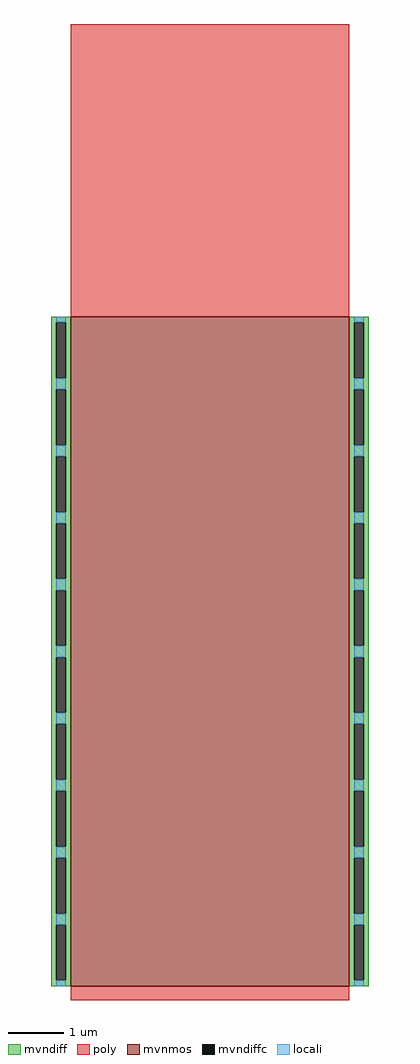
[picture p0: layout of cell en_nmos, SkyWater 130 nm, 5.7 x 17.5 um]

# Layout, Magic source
magic
tech sky130A
<< mvnmos >>
rect 0 25 500 1225
<< mvndiff >>
rect -35 1215 0 1225
rect -35 1115 -26 1215
rect -9 1115 0 1215
rect -35 1095 0 1115
rect -35 995 -26 1095
rect -9 995 0 1095
rect -35 975 0 995
rect -35 875 -26 975
rect -9 875 0 975
rect -35 855 0 875
rect -35 755 -26 855
rect -9 755 0 855
rect -35 735 0 755
rect -35 635 -26 735
rect -9 635 0 735
rect -35 615 0 635
rect -35 515 -26 615
rect -9 515 0 615
rect -35 495 0 515
rect -35 395 -26 495
rect -9 395 0 495
rect -35 375 0 395
rect -35 275 -26 375
rect -9 275 0 375
rect -35 255 0 275
rect -35 155 -26 255
rect -9 155 0 255
rect -35 135 0 155
rect -35 35 -26 135
rect -9 35 0 135
rect -35 25 0 35
rect 500 1215 535 1225
rect 500 1115 509 1215
rect 526 1115 535 1215
rect 500 1095 535 1115
rect 500 995 509 1095
rect 526 995 535 1095
rect 500 975 535 995
rect 500 875 509 975
rect 526 875 535 975
rect 500 855 535 875
rect 500 755 509 855
rect 526 755 535 855
rect 500 735 535 755
rect 500 635 509 735
rect 526 635 535 735
rect 500 615 535 635
rect 500 515 509 615
rect 526 515 535 615
rect 500 495 535 515
rect 500 395 509 495
rect 526 395 535 495
rect 500 375 535 395
rect 500 275 509 375
rect 526 275 535 375
rect 500 255 535 275
rect 500 155 509 255
rect 526 155 535 255
rect 500 135 535 155
rect 500 35 509 135
rect 526 35 535 135
rect 500 25 535 35
<< mvndiffc >>
rect -26 1115 -9 1215
rect -26 995 -9 1095
rect -26 875 -9 975
rect -26 755 -9 855
rect -26 635 -9 735
rect -26 515 -9 615
rect -26 395 -9 495
rect -26 275 -9 375
rect -26 155 -9 255
rect -26 35 -9 135
rect 509 1115 526 1215
rect 509 995 526 1095
rect 509 875 526 975
rect 509 755 526 855
rect 509 635 526 735
rect 509 515 526 615
rect 509 395 526 495
rect 509 275 526 375
rect 509 155 526 255
rect 509 35 526 135
<< poly >>
rect 0 1225 500 1750
rect 0 0 500 25
<< locali >>
rect -26 1215 -9 1225
rect -26 1095 -9 1115
rect -26 975 -9 995
rect -26 855 -9 875
rect -26 735 -9 755
rect -26 615 -9 635
rect -26 495 -9 515
rect -26 375 -9 395
rect -26 255 -9 275
rect -26 135 -9 155
rect -26 25 -9 35
rect 509 1215 526 1225
rect 509 1095 526 1115
rect 509 975 526 995
rect 509 855 526 875
rect 509 735 526 755
rect 509 615 526 635
rect 509 495 526 515
rect 509 375 526 395
rect 509 255 526 275
rect 509 135 526 155
rect 509 25 526 35
<< end >>
